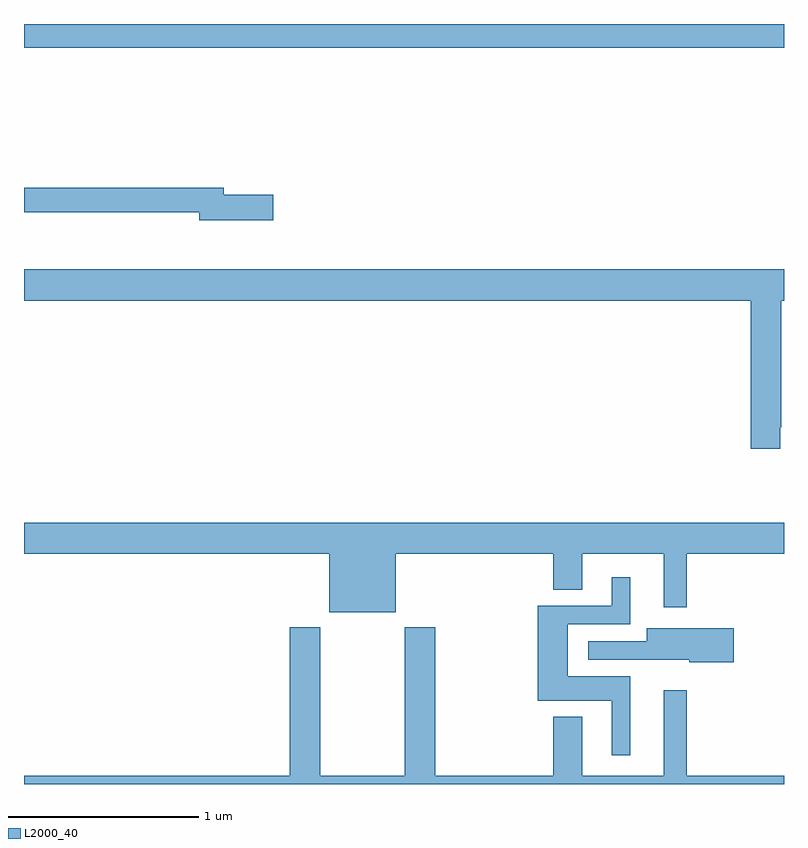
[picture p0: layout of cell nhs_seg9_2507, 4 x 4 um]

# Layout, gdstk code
import gdstk
lib = gdstk.Library(unit=1e-6, precision=1e-09)
def R(c, l, rs):  # rectangles x0, y0, x1, y1
    for r in rs: c.add(gdstk.rectangle(r[:2], r[2:], *l))
def P(c, l, *ps):  # polygons
    for p in ps: c.add(gdstk.Polygon(p, *l))
L2000_40 = (2000, 40)

nhs_seg9_2507 = lib.new_cell('nhs_seg9_2507')
R(nhs_seg9_2507, L2000_40, [(253,1240.376,257,1240.5)])
P(nhs_seg9_2507, L2000_40, [(254.311,1239.602),(254.05,1239.602),(254.05,1239.638),(253,1239.638),(253,1239.51),(253.922,1239.51),(253.922,1239.467),(254.311,1239.467)],
  [(256.981,1238.377),(256.986,1238.377),(256.986,1239.044),(257,1239.044),(257,1239.208),(253,1239.208),(253,1239.044),(256.826,1239.044),(256.826,1238.265),(256.981,1238.265)],
  [(254.956,1237.712),(255.785,1237.712),(255.785,1237.522),(255.937,1237.522),(255.937,1237.712),(256.367,1237.712),(256.367,1237.431),(256.489,1237.431),(256.489,1237.712),(257,1237.712),(257,1237.876),(253,1237.876),(253,1237.712),(254.606,1237.712),(254.606,1237.403),(254.956,1237.403)],
  [(256.192,1237.066),(255.862,1237.066),(255.862,1237.341),(256.192,1237.341),(256.192,1237.588),(256.094,1237.588),(256.094,1237.437),(255.704,1237.437),(255.704,1236.938),(256.094,1236.938),(256.094,1236.651),(256.192,1236.651)],
  [(257,1236.544),(256.489,1236.544),(256.489,1236.994),(256.367,1236.994),(256.367,1236.544),(255.937,1236.544),(255.937,1236.853),(255.785,1236.853),(255.785,1236.544),(255.164,1236.544),(255.164,1237.324),(255.004,1237.324),(255.004,1236.544),(254.559,1236.544),(254.559,1237.324),(254.399,1237.324),(254.399,1236.544),(253,1236.544),(253,1236.5),(257,1236.5)],
  [(256.735,1237.32),(256.277,1237.32),(256.277,1237.251),(255.969,1237.251),(255.969,1237.155),(256.281,1237.155),(256.281,1237.154),(256.5,1237.154),(256.5,1237.142),(256.735,1237.142)])

lib.write_gds('nhs_seg9_2507.gds')
